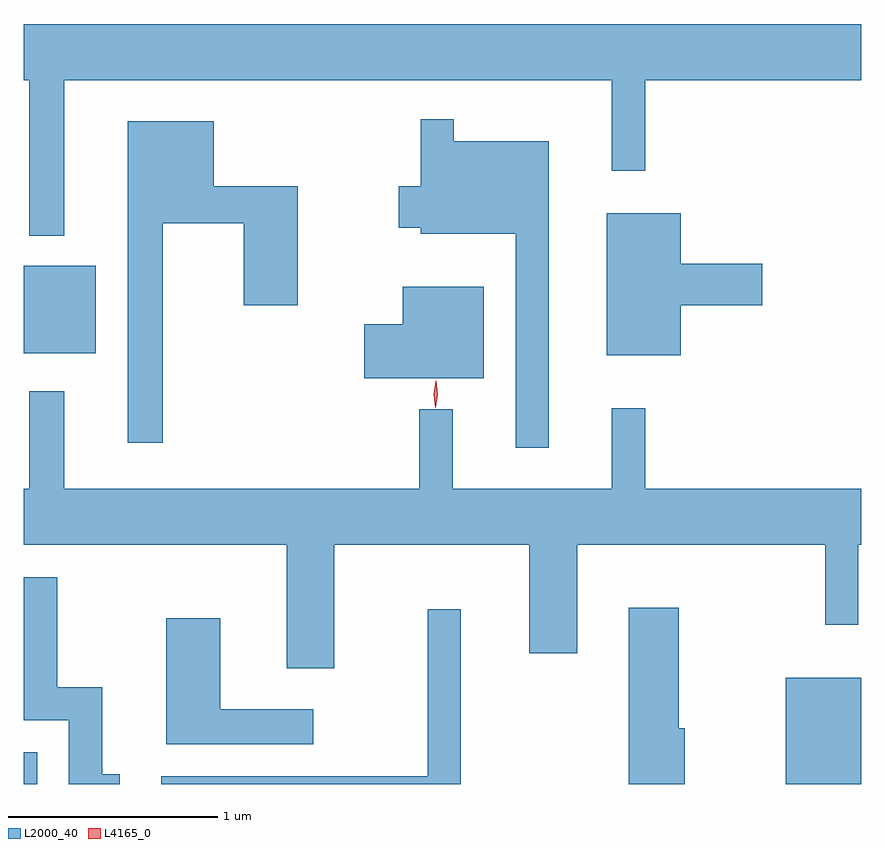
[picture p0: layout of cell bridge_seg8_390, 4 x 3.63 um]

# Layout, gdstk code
import gdstk
lib = gdstk.Library(unit=1e-6, precision=1e-09)
def R(c, l, rs):  # rectangles x0, y0, x1, y1
    for r in rs: c.add(gdstk.rectangle(r[:2], r[2:], *l))
def P(c, l, *ps):  # polygons
    for p in ps: c.add(gdstk.Polygon(p, *l))
L2000_40 = (2000, 40)
L4165_0 = (4165, 0)

bridge_seg8_390 = lib.new_cell('bridge_seg8_390')
R(bridge_seg8_390, L2000_40, [(810.286,1848.592,810.349,1848.744), (813.926,1848.592,814.286,1849.099), (810.286,1850.651,810.629,1851.069)])
P(bridge_seg8_390, L2000_40, [(810.479,1851.956),(813.096,1851.956),(813.096,1851.523),(813.254,1851.523),(813.254,1851.956),(814.286,1851.956),(814.286,1852.224),(810.286,1852.224),(810.286,1851.956),(810.311,1851.956),(810.311,1851.213),(810.479,1851.213)],
  [(812.794,1851.664),(812.339,1851.664),(812.339,1851.768),(812.181,1851.768),(812.181,1851.449),(812.076,1851.449),(812.076,1851.251),(812.181,1851.251),(812.181,1851.221),(812.636,1851.221),(812.636,1850.198),(812.794,1850.198)],
  [(810.949,1851.271),(811.336,1851.271),(811.336,1850.881),(811.594,1850.881),(811.594,1851.449),(811.194,1851.449),(811.194,1851.759),(810.781,1851.759),(810.781,1850.223),(810.949,1850.223)],
  [(813.424,1850.881),(813.814,1850.881),(813.814,1851.079),(813.424,1851.079),(813.424,1851.319),(813.071,1851.319),(813.071,1850.641),(813.424,1850.641)],
  [(812.484,1850.969),(812.096,1850.969),(812.096,1850.789),(811.911,1850.789),(811.911,1850.531),(812.484,1850.531)],
  [(812.701,1849.216),(812.929,1849.216),(812.929,1849.736),(814.116,1849.736),(814.116,1849.353),(814.274,1849.353),(814.274,1849.736),(814.286,1849.736),(814.286,1850.004),(813.254,1850.004),(813.254,1850.388),(813.096,1850.388),(813.096,1850.004),(812.334,1850.004),(812.334,1850.383),(812.176,1850.383),(812.176,1850.004),(810.479,1850.004),(810.479,1850.468),(810.311,1850.468),(810.311,1850.004),(810.286,1850.004),(810.286,1849.736),(811.541,1849.736),(811.541,1849.146),(811.769,1849.146),(811.769,1849.736),(812.701,1849.736)],
  [(810.743,1848.639),(810.659,1848.639),(810.659,1849.054),(810.444,1849.054),(810.444,1849.579),(810.286,1849.579),(810.286,1848.896),(810.501,1848.896),(810.501,1848.592),(810.743,1848.592)],
  [(813.444,1848.859),(813.414,1848.859),(813.414,1849.434),(813.176,1849.434),(813.176,1848.592),(813.444,1848.592)],
  [(812.374,1849.428),(812.216,1849.428),(812.216,1848.629),(810.943,1848.629),(810.943,1848.592),(812.374,1848.592)],
  [(811.668,1848.949),(811.224,1848.949),(811.224,1849.384),(810.966,1849.384),(810.966,1848.781),(811.668,1848.781)])
P(bridge_seg8_390, L4165_0, [(812.252,1850.389),(812.244,1850.454),(812.254,1850.519),(812.255,1850.52),(812.255,1850.519),(812.264,1850.454),(812.253,1850.389),(812.253,1850.389)])

lib.write_gds('bridge_seg8_390.gds')
